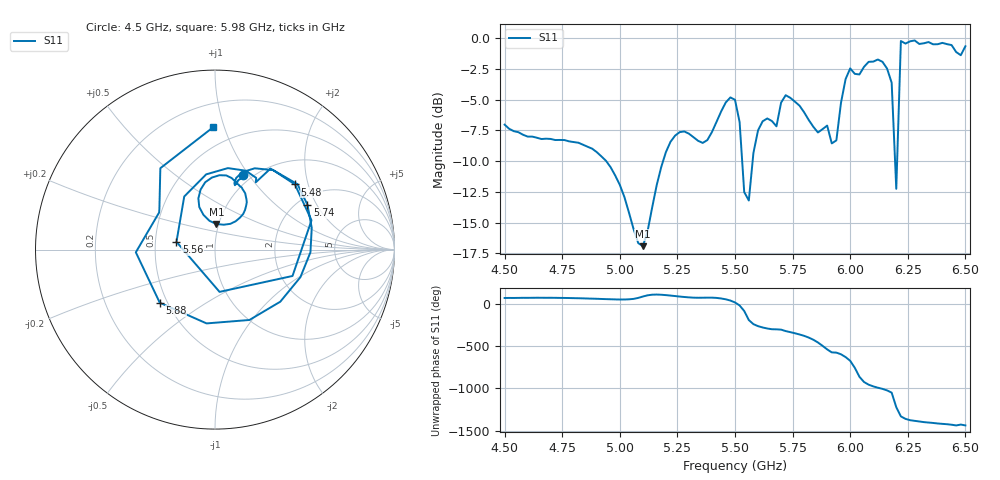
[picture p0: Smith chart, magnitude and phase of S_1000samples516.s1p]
! TOUCHSTONE file generated by CST MICROWAVE STUDIO
! Date and time: Fri Oct 28 10:44:55 2022
! Project name: L.cst
! Parameters = {Di=1.27; Epsilon_r=1.56; InnerDiameter=1.27; Length=2; Lf=10; Lg=60; OuterConductorThickness=0.2921; OuterDiameter=3.6; Wf=3; Wp=41.2; de=1.5; df=6.8; g=0.8; gx=0.871824; gy=2.07198; h=2.34; hf=1.524; px=12.7476; py=14.8085; w=9.7; wx=11.8757; wy=12.7365}
! Header version: 2018
! Port assignment regex: !\s*Touchstone port\s*([0-9]+)\s*=\s*(CST MWS port|CST DS port)\s*([0-9]+|Zmin|Zmax)\s*\(\"(.*)\"\)(\s*mode\s*([0-9]+))?.*
! Touchstone port assignment:
! Touchstone port 1 = CST MWS port 1 ("")
# GHz S DB R 50
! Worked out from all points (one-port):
!   101 points, 4.5 GHz to 6.5 GHz, reference 50 ohm
!   lowest |S11| = -16.9 dB at 5.1 GHz (marker M1), VSWR 1.33, Z = 48.7 + j14.2 ohm
!   |S11| at or under -10 dB: 4.941 GHz to 5.188 GHz (246.3 MHz wide, 4.86 % of centre); 5.531 GHz to 5.576 GHz (45.31 MHz wide, 0.816 % of centre); 6.194801 GHz to 6.203731 GHz (8.93 MHz wide, 0.144 % of centre)
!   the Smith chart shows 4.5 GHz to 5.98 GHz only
!   S11 on the Smith chart (normalised r, x): 4.5 GHz: 0.90, +0.94; 5.48 GHz: 1.52, +1.65; 5.56 GHz: 0.64, +0.06; 5.74 GHz: 2.26, +1.68; 5.88 GHz: 0.45, -0.33; 5.98 GHz: 0.36, +0.92
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4.5  -7.03 69.7
4.76  -8.28 70.1
5  -11.92 51.7
5.1  -16.91 86.9
5.26  -7.63 86.5
5.48  -4.81 39.2
5.5  -5.01 16.9
5.54  -12.51 -83.9
5.56  -13.19 168.6
5.62  -6.75 81.0
5.74  -4.84 25.8
5.76  -5.16 12.7
5.82  -6.64 -38.6
5.88  -7.39 -136.1
5.96  -5.25 123.9
5.98  -3.32 90.8
6  -2.45 46.8
6.02  -2.90 -36.0
6.04  -2.95 -141.9
6.06  -2.32 156.3
6.08  -1.92 124.6
6.12  -1.73 88.7
6.18  -3.62 30.3
6.2  -12.24 -141.6
6.22  -0.23 109.4
6.26  -0.25 64.5
6.34  -0.31 37.0
6.5  -0.65 2.6
